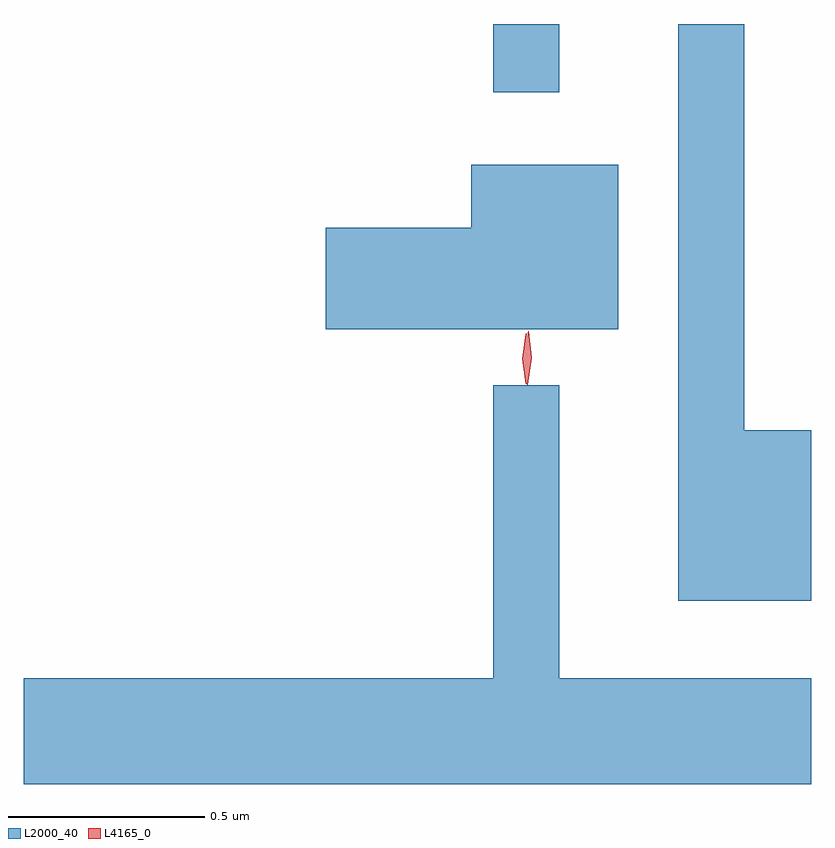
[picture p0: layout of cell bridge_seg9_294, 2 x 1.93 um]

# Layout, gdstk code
import gdstk
lib = gdstk.Library(unit=1e-6, precision=1e-09)
def R(c, l, rs):  # rectangles x0, y0, x1, y1
    for r in rs: c.add(gdstk.rectangle(r[:2], r[2:], *l))
def P(c, l, *ps):  # polygons
    for p in ps: c.add(gdstk.Polygon(p, *l))
L2000_40 = (2000, 40)
L4165_0 = (4165, 0)

bridge_seg9_294 = lib.new_cell('bridge_seg9_294')
R(bridge_seg9_294, L2000_40, [(946.841,2075.713,947.009,2075.886)])
P(bridge_seg9_294, L2000_40, [(947.649,2074.854),(947.479,2074.854),(947.479,2075.886),(947.311,2075.886),(947.311,2074.421),(947.649,2074.421)],
  [(947.159,2075.529),(946.786,2075.529),(946.786,2075.369),(946.416,2075.369),(946.416,2075.111),(947.159,2075.111)],
  [(947.649,2074.224),(947.009,2074.224),(947.009,2074.968),(946.841,2074.968),(946.841,2074.224),(945.649,2074.224),(945.649,2073.956),(947.649,2073.956)])
P(bridge_seg9_294, L4165_0, [(946.928,2074.97),(946.928,2074.97),(946.919,2075.038),(946.93,2075.106),(946.93,2075.106),(946.931,2075.106),(946.939,2075.038),(946.929,2074.97)],
  [(946.924,2074.973),(946.915,2075.036),(946.924,2075.1),(946.925,2075.1),(946.926,2075.1),(946.935,2075.036),(946.926,2074.973),(946.925,2074.973)])

lib.write_gds('bridge_seg9_294.gds')
